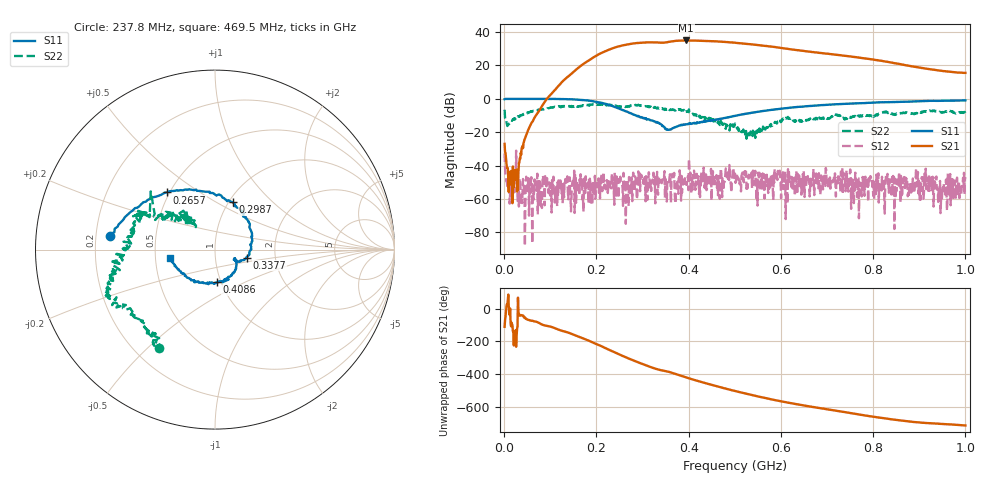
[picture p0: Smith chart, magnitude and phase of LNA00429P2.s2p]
! Created with skrf 1.9.0 (http://scikit-rf.org).
# Hz S RI R 50.0
!freq ReS11 ImS11 ReS21 ImS21 ReS12 ImS12 ReS22 ImS22
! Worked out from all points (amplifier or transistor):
!   1001 points, 1 MHz to 1 GHz, reference 50 ohm
!   highest |S21| = 35.0 dB at 394.6 MHz (marker M1)
!   |S21| within 3 dB of that: 256.5 MHz to 558 MHz (301.5 MHz wide, 74 % of centre)
!   unconditionally stable (mu >= 1): 33.72 MHz to 71.44 MHz; 239.9 MHz to 400.3 MHz; 401.5 MHz to end of sweep (the widest 3 of 33)
!   at 166.8 MHz: K = 2.04, MAG = 29.5 dB, |S12| = -50.8 dB
!   at 500.5 MHz: K = 1.70, MAG = 34.3 dB, |S12| = -44.8 dB
!   at 1 GHz: K = 2.81, MAG = 23.9 dB, |S12| = -46.9 dB
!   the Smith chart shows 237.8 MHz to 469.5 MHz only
!   S11 on the Smith chart (normalised r, x): 237.8 MHz: 0.26, +0.06; 265.7 MHz: 0.49, +0.37; 298.7 MHz: 1.04, +0.60; 337.7 MHz: 1.42, -0.13; 408.6 MHz: 0.95, -0.36; 469.5 MHz: 0.60, -0.06
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1000000  0.9784 -0.00389  -0.0167 -0.0417  -0.0235 -0.00117  0.3374 0.3292
1.08892e8  0.5202 -0.8486  -0.8517 -1.56  -0.00161 0.00111  0.4319 -0.3817
1.67833e8  -0.2365 -0.8985  -10.13 -0.3445  0.00299 0.00143  0.0287 -0.6228
2.07793e8  -0.6568 -0.4126  -15.58 16.25  -0.000882 0.000562  -0.2177 -0.6565
2.37763e8  -0.5827 0.0732  -2.97 33.61  0.000145 -0.00163  -0.314 -0.5457
2.65735e8  -0.2666 0.3185  20.84 36.36  -0.00282 -0.00194  -0.4698 -0.3631
2.98702e8  0.0989 0.2633  44.26 18.5  -0.00272 0.0039  -0.5982 -0.2053
3.17683e8  0.1929 0.1212  49.14 2.439  -0.00343 -0.000467  -0.574 -0.1212
3.34666e8  0.1924 -0.0261  47.34 -10.57  -0.00222 0.00406  -0.5111 -0.031
3.37663e8  0.177 -0.0447  46.54 -12.29  -0.00138 0.00297  -0.5137 -0.0382
3.67633e8  0.1202 -0.066  43.75 -31.21  0.000423 0.00459  -0.4462 0.1589
3.94606e8  0.0671 -0.1598  27.36 -48.88  0.00317 0.000838  -0.3739 0.1868
4.08592e8  0.00893 -0.1823  16.47 -53.29  0.00135 0.00136  -0.3046 0.1925
4.37563e8  -0.1336 -0.1712  -6.163 -53.95  -0.00209 0.00505  -0.1603 0.1668
4.69531e8  -0.2515 -0.0465  -26.38 -44.24  0.00354 0.00748  -0.1501 0.1627
5.005e8  -0.288 0.108  -38.54 -28.89  -0.00517 0.00254  -0.1339 0.1251
5.39461e8  -0.2243 0.319  -41.65 -7.655  0.00708 0.000565  -0.1117 0.00423
5.83417e8  -0.0531 0.4727  -34.37 10.43  0.000852 -0.000365  -0.1618 -0.0445
6.67333e8  0.3347 0.5196  -12.65 21.77  3.79e-05 -0.00286  -0.2612 0.0101
7.55245e8  0.6359 0.3486  3.082 17.93  -0.00348 -0.00169  -0.282 0.0732
8.34166e8  0.7873 0.1221  8.722 9.107  0.000997 0.00118  -0.3768 0.1056
1e9  0.8031 -0.4079  5.952 0.6731  -0.00318 0.00321  -0.1517 0.3441
